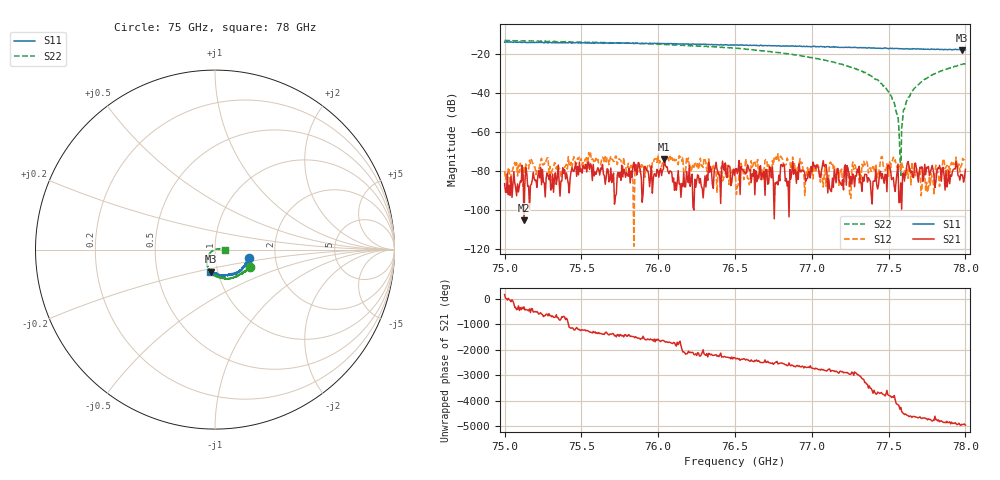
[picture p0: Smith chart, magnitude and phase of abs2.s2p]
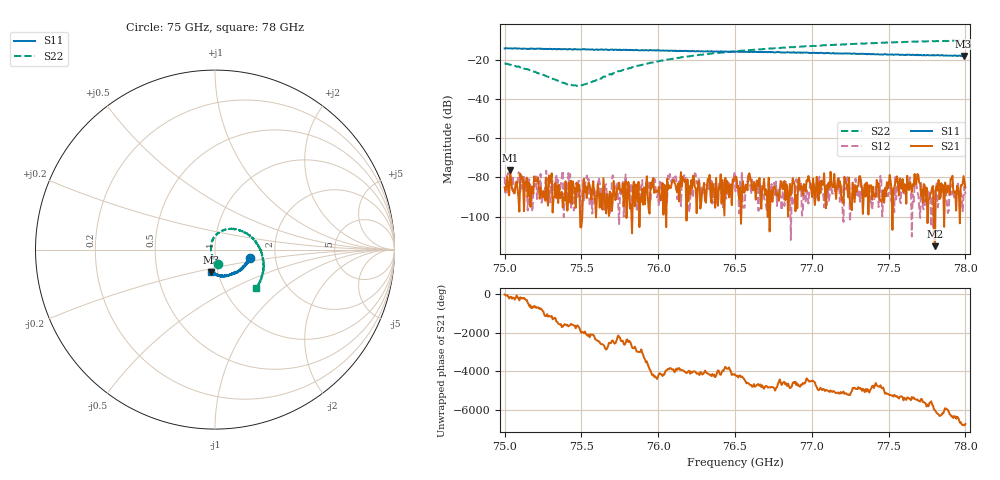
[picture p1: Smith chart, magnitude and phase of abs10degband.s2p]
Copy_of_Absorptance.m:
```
% ------------------------------------------------------------
% S11 Absorption Analysis for Multiple Incidence Angles
% Author: Jorge Cardenas
% Description: Loads S-parameter data, calculates absorption
%              for 0°, 10°, and 20° incidence, and exports CSV.
% ------------------------------------------------------------

% ---------- Input Files ----------

files = struct(...
    'angle0', struct('absorber', 'abs2.s2p', 'reflect', 'Reflection0Deg.s2p'), ...
    'angle10', struct('absorber', 'abs10degband.s2p', 'reflect', 'Reflectioncontrol10Deg.s2p'), ...
    'angle20', struct('absorber', 'abs20degband.s2p', 'reflect', 'Reflectioncontrol20Deg.s2p'),'angle30', struct('absorber', 'abs30degband.s2p', 'reflect', 'Reflectioncontrol20Deg.s2p') ...
    );

% ---------- Load and Process ----------
[abs0, freq]  = processAngle(files.angle0.absorber, files.angle0.reflect, 0);
abs10         = processAngle(files.angle10.absorber, files.angle10.reflect, 10);
abs20         = processAngle(files.angle20.absorber, files.angle20.reflect, 20);

% ---------- Export to CSV ----------
T = table(freq, abs0, abs10, abs20, ...
    'VariableNames', {'Frequency_GHz', 'Abs0deg', 'Abs10deg', 'Abs20deg'});

writetable(T, 'absorption_all_angles.csv');
disp('CSV saved: absorption_all_angles.csv');

% ============================================================
% Function: Process and Plot for One Angle
% ============================================================
function [P_absorbed_normalized, freq_GHz] = processAngle(absorber_file, reflect_file, angle_deg)

    % Load S-parameters
    data_absorber = sparameters(absorber_file);
    data_reflect = sparameters(reflect_file);
    freq_GHz = data_absorber.Frequencies / 1e9;
    
    % Extract S11
    s11_absorber = rfparam(data_absorber, 2, 2);
    s11_reflect = rfparam(data_reflect, 2, 2);

    plotS11Comparison(freq_GHz, data_absorber, data_reflect, s11_absorber, s11_reflect, angle_deg);
    diff_mag_db = mag2db((abs(s11_absorber)+(abs(s11_reflect)).^2)./abs(s11_absorber)) ;
    diff_mag = db2mag(diff_mag_db)
    % Calculate Absorption (custom domain-specific formula)
    P_in =  abs(diff_mag).^2;  % normalized
    P_absorbed_normalized =1-( P_in);

    % Plot
    figure('Name', sprintf('Absorption @ %d°', angle_deg));
    plot(freq_GHz, P_absorbed_normalized, 'b-', 'LineWidth', 2);
    xlabel('Frequency (GHz)', 'FontWeight', 'bold');
    ylabel('Absorption (Normalized)', 'FontWeight', 'bold');
    title(sprintf('Normalized Absorption vs Frequency @ %d°', angle_deg), 'FontWeight', 'bold');
    xlim([min(freq_GHz) max(freq_GHz)]);
    ylim([0 1]);
    grid on;
    set(gca, 'FontSize', 12);
end


% ============================================================
% Function: Plot S11 Comparison
% ============================================================
function plotS11Comparison(freq, data_dut, data_ref, s11_dut, s11_ref, angle_deg)
    diff_mag_db = mag2db(abs(s11_dut)) - mag2db(abs(s11_ref));

    figure('Name', sprintf('S11 Comparison @ %d°', angle_deg));
    subplot(2,1,1)
    rfplot(data_dut, 2, 2); hold on;
    rfplot(data_ref, 2, 2);
    xlabel('Frequency (GHz)');
    ylabel('|S_{11}| (dB)');
    title(sprintf('S11 Comparison @ %d°', angle_deg));
    legend('DUT', 'Reference');
    grid on;

    subplot(2,1,2)
    plot(freq, diff_mag_db, 'k', 'LineWidth', 2);
    xlabel('Frequency (GHz)');
    ylabel('Difference |S_{11}| (dB)');
    title('Difference in Reflection Magnitude');
    grid on;
    set(gca, 'FontSize', 12);
end
```
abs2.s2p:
# Hz S MA R 50
! CMT, C4420, 21421029, 25.1.2/3
! Date: 8/7/2025 12:42:04 PM
! Data: Format (Calibration Info)
! Freq	S33:Mag/Ang(F2)	S43:Mag/Ang(F2)	S34:Mag/Ang(F2)	S44:Mag/Ang(F2)
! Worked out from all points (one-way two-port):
!   500 points, 75 GHz to 78 GHz, reference 50 ohm
!   highest |S21| = -73.97 dB at 76.04 GHz (marker M1); lowest = -105.4 dB at 75.126 GHz (marker M2)
!   lowest |S11| = -18.1 dB at 77.976 GHz (marker M3), VSWR 1.28, Z = 46.6 - j11.6 ohm
!   |S11| at or under -10 dB: start of sweep to end of sweep
!   |S22| runs from -82.5 to -13.3 dB; largest |S21 - S12| = 0.00035
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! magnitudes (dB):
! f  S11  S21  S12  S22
! 75 GHz  -14.2  -86.7  -80.2  -13.3
! 75.126 GHz  -14.2  -105.4  -77.9  -13.6
! 76.04 GHz  -15.0  -74.0  -73.3  -15.4
! 76.503 GHz  -15.7  -79.0  -82.6  -17.3
! 77.381 GHz  -17.2  -85.4  -78.7  -31.2
! 77.525 GHz  -17.3  -84.1  -74.7  -43.6
! 77.579 GHz  -17.6  -86.3  -80.4  -82.5
! 77.609 GHz  -17.6  -81.6  -83.3  -46.5
! 77.657 GHz  -17.5  -83.3  -79.3  -39.0
! 77.976 GHz  -18.1  -82.5  -77.1  -25.6
! 78 GHz  -18.1  -79.4  -74.2  -25.3
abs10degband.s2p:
# Hz S MA R 50
! CMT, C4420, 21421029, 25.1.2/3
! Date: 8/7/2025 5:55:13 PM
! Data: Format (Calibration Info)
! Freq	S33:Mag/Ang(F2)	S43:Mag/Ang(F2)	S34:Mag/Ang(F2)	S44:Mag/Ang(F2)
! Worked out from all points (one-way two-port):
!   500 points, 75 GHz to 78 GHz, reference 50 ohm
!   highest |S21| = -76.27 dB at 75.036 GHz (marker M1); lowest = -115.2 dB at 77.802 GHz (marker M2)
!   lowest |S11| = -17.9 dB at 77.988 GHz (marker M3), VSWR 1.29, Z = 46.5 - j11.8 ohm
!   |S11| at or under -10 dB: start of sweep to end of sweep
!   |S22| runs from -33.2 to -10.0 dB; largest |S21 - S12| = 0.00018
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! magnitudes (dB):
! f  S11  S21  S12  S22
! 75 GHz  -14.0  -85.1  -79.9  -21.7
! 75.036 GHz  -14.0  -76.3  -79.3  -22.5
! 75.397 GHz  -14.4  -82.0  -83.5  -32.0
! 75.481 GHz  -14.5  -83.5  -81.8  -33.0
! 75.938 GHz  -15.1  -96.4  -82.5  -21.6
! 76.503 GHz  -15.7  -79.5  -87.1  -15.5
! 77.651 GHz  -17.4  -87.5  -110.3  -10.6
! 77.681 GHz  -17.4  -82.4  -83.7  -10.6
! 77.802 GHz  -17.6  -115.2  -94.9  -10.4
! 77.988 GHz  -17.9  -79.3  -89.5  -10.0
! 78 GHz  -17.9  -85.1  -88.6  -10.0
